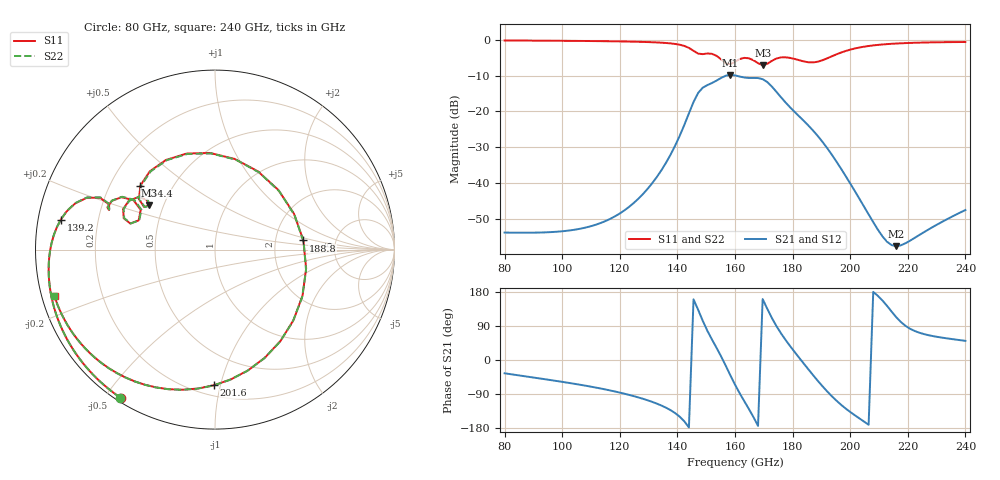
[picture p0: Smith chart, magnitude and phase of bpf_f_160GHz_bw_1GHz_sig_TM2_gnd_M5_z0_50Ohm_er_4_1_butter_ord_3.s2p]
#  GHZ S DB R 50.0
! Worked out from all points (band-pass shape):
!   101 points, 80 GHz to 240 GHz, reference 50 ohm
!   highest |S21| = -9.79 dB at 158.4 GHz (marker M1); lowest = -57.6 dB at 216 GHz (marker M2)
!   |S21| within 3 dB of the highest: 150.1 GHz to 172.5 GHz (22.38 GHz wide, 13.9 % of centre)
!   lowest |S11| = -7.1 dB at 169.6 GHz (marker M3), VSWR 2.59, Z = 20.8 + j12.7 ohm
!   |S11| at or under -10 dB: nowhere
!   |S22| runs from -7.2 to -0.2 dB; largest |S21 - S12| = 1e-12
!   S11 on the Smith chart (normalised r, x): 80 GHz: 0.01, -0.55; 139.2 GHz: 0.07, +0.10; 174.4 GHz: 0.33, +0.34; 188.8 GHz: 2.90, +0.39; 201.6 GHz: 0.27, -0.96; 240 GHz: 0.04, -0.14
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80  -0.19 -122.5  -53.83 -35.1  -53.83 -35.1  -0.19 -122.6
107.2  -0.33 -150.1  -52.61 -66.6  -52.61 -66.6  -0.33 -150.2
121.6  -0.48 -165.3  -47.63 -89.0  -47.63 -89.0  -0.48 -165.4
134.4  -0.81 177.8  -36.48 -120.0  -36.48 -120.0  -0.81 177.6
139.2  -1.16 169.0  -29.59 -140.1  -29.59 -140.1  -1.16 168.9
144  -2.26 158.0  -20.54 -178.1  -20.54 -178.1  -2.27 157.8
147.2  -3.87 157.0  -14.84 132.6  -14.84 132.6  -3.88 156.7
150.4  -3.82 158.5  -12.65 77.2  -12.65 77.2  -3.84 158.2
155.2  -5.48 148.7  -10.63 9.1  -10.63 9.1  -5.52 148.4
158.4  -6.83 159.0  -9.79 -40.6  -9.79 -40.6  -6.89 158.8
160  -6.13 162.9  -9.94 -65.0  -9.94 -65.0  -6.18 162.7
164.8  -5.16 150.5  -10.66 -129.0  -10.66 -129.0  -5.20 150.2
169.6  -7.08 146.2  -11.00 160.9  -11.00 160.9  -7.17 146.0
174.4  -5.22 139.3  -14.55 89.3  -14.55 89.3  -5.28 139.1
180.8  -5.37 92.9  -20.21 20.3  -20.21 20.3  -5.42 92.1
187.2  -6.31 24.5  -25.43 -40.8  -25.43 -40.8  -6.32 23.2
188.8  -6.11 5.9  -26.92 -55.4  -26.92 -55.4  -6.09 4.6
195.2  -4.07 -54.2  -33.98 -107.1  -33.98 -107.1  -4.03 -55.1
201.6  -2.43 -90.4  -42.24 -145.8  -42.24 -145.8  -2.40 -91.0
214.4  -1.12 -128.6  -57.34 127.6  -57.34 127.6  -1.11 -128.8
216  -1.05 -131.7  -57.63 112.9  -57.63 112.9  -1.04 -131.9
240  -0.62 -163.7  -47.54 50.5  -47.54 50.5  -0.62 -163.8
